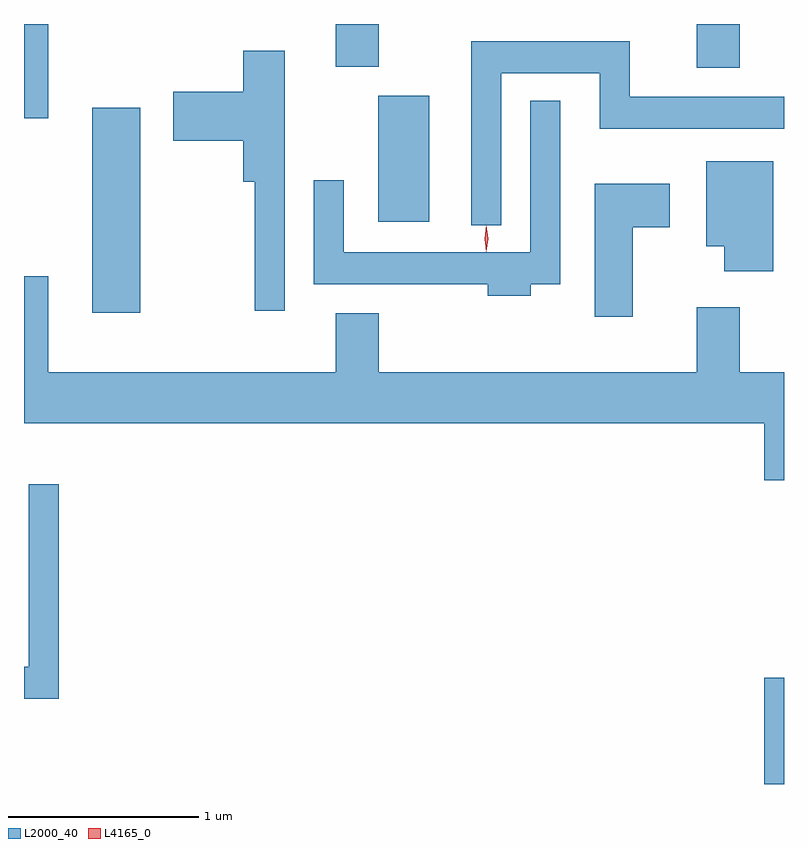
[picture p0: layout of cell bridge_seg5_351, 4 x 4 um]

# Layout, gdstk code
import gdstk
lib = gdstk.Library(unit=1e-6, precision=1e-09)
def R(c, l, rs):  # rectangles x0, y0, x1, y1
    for r in rs: c.add(gdstk.rectangle(r[:2], r[2:], *l))
def P(c, l, *ps):  # polygons
    for p in ps: c.add(gdstk.Polygon(p, *l))
L2000_40 = (2000, 40)
L4165_0 = (4165, 0)

bridge_seg5_351 = lib.new_cell('bridge_seg5_351')
R(bridge_seg5_351, L2000_40, [(554.736,1519.276,554.841,1519.834), (551.201,1521.756,551.454,1522.834), (552.706,1522.236,552.974,1522.899), (550.841,1522.781,550.969,1523.276), (554.381,1523.046,554.609,1523.276), (552.481,1523.051,552.709,1523.276)])
P(bridge_seg5_351, L2000_40, [(553.354,1523.016),(553.871,1523.016),(553.871,1522.726),(554.841,1522.726),(554.841,1522.894),(554.029,1522.894),(554.029,1523.184),(553.196,1523.184),(553.196,1522.218),(553.354,1522.218)],
  [(552.214,1523.134),(551.996,1523.134),(551.996,1522.919),(551.626,1522.919),(551.626,1522.661),(551.996,1522.661),(551.996,1522.446),(552.056,1522.446),(552.056,1521.768),(552.214,1521.768)],
  [(553.509,1521.906),(553.664,1521.906),(553.664,1522.873),(553.506,1522.873),(553.506,1522.074),(552.524,1522.074),(552.524,1522.453),(552.366,1522.453),(552.366,1521.906),(553.281,1521.906),(553.281,1521.846),(553.509,1521.846)],
  [(554.784,1522.554),(554.431,1522.554),(554.431,1522.106),(554.526,1522.106),(554.526,1521.976),(554.784,1521.976)],
  [(554.044,1522.206),(554.239,1522.206),(554.239,1522.434),(553.846,1522.434),(553.846,1521.736),(554.044,1521.736)],
  [(554.841,1521.444),(554.609,1521.444),(554.609,1521.784),(554.381,1521.784),(554.381,1521.444),(552.709,1521.444),(552.709,1521.754),(552.481,1521.754),(552.481,1521.444),(550.969,1521.444),(550.969,1521.949),(550.841,1521.949),(550.841,1521.176),(554.736,1521.176),(554.736,1520.876),(554.841,1520.876)],
  [(551.024,1520.853),(550.866,1520.853),(550.866,1519.894),(550.841,1519.894),(550.841,1519.726),(551.024,1519.726)])
P(bridge_seg5_351, L4165_0, [(553.275,1522.079),(553.274,1522.08),(553.265,1522.146),(553.274,1522.212),(553.275,1522.213),(553.275,1522.212),(553.285,1522.146),(553.275,1522.08)],
  [(553.274,1522.077),(553.265,1522.146),(553.274,1522.216),(553.275,1522.216),(553.275,1522.216),(553.285,1522.146),(553.275,1522.077),(553.275,1522.077)])

lib.write_gds('bridge_seg5_351.gds')
